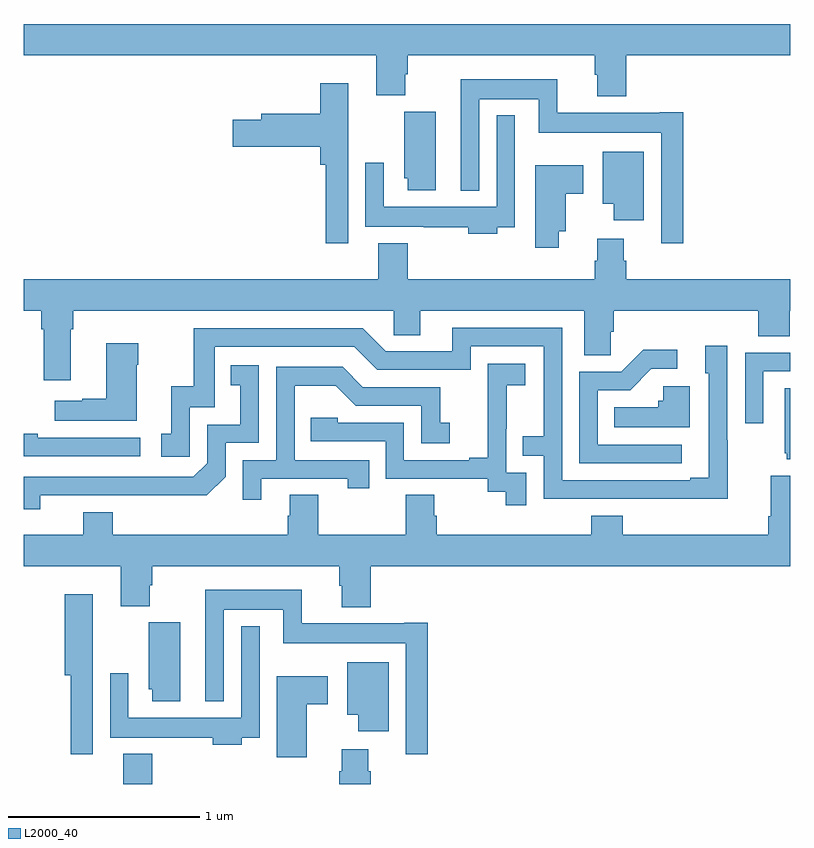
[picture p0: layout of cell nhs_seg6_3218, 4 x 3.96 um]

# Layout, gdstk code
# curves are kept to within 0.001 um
import gdstk
lib = gdstk.Library(unit=1e-6, precision=1e-09)
def R(c, l, rs):  # rectangles x0, y0, x1, y1
    for r in rs: c.add(gdstk.rectangle(r[:2], r[2:], *l))
def P(c, l, *ps):  # polygons
    for p in ps: c.add(gdstk.Polygon(p, *l))
L2000_40 = (2000, 40)

nhs_seg6_3218 = lib.new_cell('nhs_seg6_3218')
R(nhs_seg6_3218, L2000_40, [(299.519,979.5,299.672,979.657)])
P(nhs_seg6_3218, L2000_40, [(302.144,983.3),(303,983.3),(303,983.464),(299,983.464),(299,983.3),(300.839,983.3),(300.839,983.092),(300.991,983.092),(300.991,983.201),(301.004,983.201),(301.004,983.3),(301.979,983.3),(301.979,983.199),(301.991,983.199),(301.991,983.087),(302.144,983.087)],
  [(302.441,983.005),(302.318,983.005),(302.318,983.002),(301.784,983.002),(301.784,983.176),(301.28,983.176),(301.28,982.595),(301.377,982.595),(301.377,983.072),(301.686,983.072),(301.686,982.898),(302.325,982.898),(302.325,982.32),(302.441,982.32)],
  [(300.693,982.839),(300.694,982.839),(300.694,983.155),(300.548,983.155),(300.548,982.995),(300.239,982.995),(300.239,982.965),(300.09,982.965),(300.09,982.823),(300.548,982.823),(300.548,982.73),(300.577,982.73),(300.577,982.32),(300.693,982.32)],
  [(301.15,983.007),(300.986,983.007),(300.986,982.659),(301.004,982.659),(301.004,982.596),(301.15,982.596)],
  [(301.471,982.404),(301.563,982.404),(301.563,982.987),(301.467,982.987),(301.467,982.51),(300.879,982.51),(300.879,982.741),(300.783,982.741),(300.783,982.406),(301.087,982.406),(301.087,982.404),(301.319,982.404),(301.319,982.37),(301.471,982.37)],
  [(302.236,982.798),(302.021,982.798),(302.021,982.526),(302.078,982.526),(302.078,982.44),(302.236,982.44)],
  [(301.792,982.382),(301.828,982.382),(301.828,982.579),(301.918,982.579),(301.918,982.726),(301.67,982.726),(301.67,982.296),(301.792,982.296)],
  [(299.245,981.872),(299.258,981.872),(299.258,981.968),(300.93,981.968),(300.93,981.841),(301.069,981.841),(301.069,981.968),(301.925,981.968),(301.925,981.736),(302.064,981.736),(302.064,981.859),(302.078,981.859),(302.078,981.968),(302.831,981.968),(302.831,981.835),(302.996,981.835),(302.996,981.968),(303,981.968),(303,982.132),(302.144,982.132),(302.144,982.23),(302.131,982.23),(302.131,982.345),(301.991,982.345),(301.991,982.23),(301.979,982.23),(301.979,982.132),(301.004,982.132),(301.004,982.321),(300.851,982.321),(300.851,982.132),(299,982.132),(299,981.968),(299.093,981.968),(299.093,981.872),(299.105,981.872),(299.105,981.606),(299.245,981.606)],
  [(302.673,981.293),(302.67,981.293),(302.67,981.787),(302.555,981.787),(302.555,981.642),(302.574,981.642),(302.574,981.097),(302.477,981.097),(302.477,981.084),(301.809,981.084),(301.809,981.879),(301.235,981.879),(301.235,981.756),(300.888,981.756),(300.768,981.876),(299.889,981.876),(299.889,981.574),(299.771,981.574),(299.771,981.327),(299.718,981.327),(299.718,981.207),(299.868,981.207),(299.868,981.465),(299.997,981.465),(299.997,981.78),(300.726,981.78),(300.846,981.66),(301.332,981.66),(301.332,981.783),(301.713,981.783),(301.713,981.314),(301.603,981.314),(301.603,981.213),(301.713,981.213),(301.713,980.988),(302.673,980.987)],
  [(299.59,981.686),(299.598,981.686),(299.598,981.799),(299.432,981.799),(299.432,981.509),(299.306,981.509),(299.306,981.499),(299.163,981.499),(299.163,981.395),(299.59,981.395)],
  [(302.434,981.27),(301.995,981.27),(301.995,981.555),(302.164,981.555),(302.275,981.666),(302.41,981.666),(302.41,981.764),(302.231,981.764),(302.118,981.651),(301.899,981.651),(301.899,981.174),(302.434,981.174)],
  [(302.859,981.654),(303,981.654),(303,981.75),(302.763,981.75),(302.763,981.381),(302.859,981.381)],
  [(301.623,981.123),(301.518,981.123),(301.518,981.353),(301.52,981.353),(301.52,981.581),(301.618,981.581),(301.618,981.691),(301.42,981.691),(301.42,981.485),(301.421,981.485),(301.421,981.202),(301.325,981.202),(301.325,981.189),(300.984,981.189),(300.984,981.384),(300.639,981.384),(300.639,981.411),(300.499,981.411),(300.499,981.288),(300.888,981.288),(300.888,981.093),(301.422,981.093),(301.422,981.025),(301.515,981.025),(301.515,980.955),(301.623,980.955)],
  [(299.088,981.006),(299.956,981.005),(300.054,981.102),(300.054,981.279),(300.228,981.279),(300.228,981.685),(300.082,981.685),(300.082,981.579),(300.131,981.579),(300.131,981.375),(299.958,981.375),(299.958,981.174),(299.886,981.102),(299,981.102),(299,980.933),(299.088,980.933)],
  [(300.241,981.093),(300.692,981.093),(300.692,981.042),(300.803,981.042),(300.803,981.189),(300.414,981.189),(300.414,981.578),(300.628,981.578),(300.732,981.474),(301.074,981.474),(301.074,981.276),(301.222,981.276),(301.222,981.385),(301.173,981.385),(301.173,981.57),(300.769,981.57),(300.664,981.675),(300.318,981.675),(300.318,981.189),(300.144,981.189),(300.144,980.982),(300.241,980.982)],
  [(302.476,981.574),(302.337,981.574),(302.337,981.498),(302.311,981.498),(302.311,981.466),(302.08,981.466),(302.08,981.362),(302.476,981.362)],
  [(303,981.565),(302.969,981.565),(302.969,981.225),(302.981,981.225),(302.981,981.194),(303,981.194)],
  [(299.608,981.306),(299.075,981.306),(299.075,981.326),(299,981.326),(299,981.21),(299.608,981.21)],
  [(300.812,980.636),(303,980.636),(303,981.109),(302.897,981.109),(302.897,980.896),(302.885,980.896),(302.885,980.8),(302.126,980.8),(302.126,980.899),(301.961,980.899),(301.961,980.8),(301.154,980.8),(301.154,980.898),(301.141,980.898),(301.141,981.008),(300.994,981.008),(300.994,980.8),(300.537,980.8),(300.537,981.008),(300.389,981.008),(300.389,980.898),(300.377,980.898),(300.377,980.8),(299.465,980.8),(299.465,980.917),(299.312,980.917),(299.312,980.8),(299,980.8),(299,980.636),(299.507,980.636),(299.507,980.428),(299.659,980.428),(299.659,980.537),(299.672,980.537),(299.672,980.636),(300.647,980.636),(300.647,980.535),(300.659,980.535),(300.659,980.423),(300.812,980.423)],
  [(301.109,980.341),(300.986,980.341),(300.986,980.338),(300.452,980.338),(300.452,980.512),(299.948,980.512),(299.948,979.931),(300.045,979.931),(300.045,980.408),(300.354,980.408),(300.354,980.234),(300.993,980.234),(300.993,979.656),(301.109,979.656)],
  [(299.361,980.17),(299.362,980.17),(299.362,980.491),(299.216,980.491),(299.216,980.066),(299.245,980.066),(299.245,979.656),(299.361,979.656)],
  [(299.818,980.343),(299.654,980.343),(299.654,979.995),(299.672,979.995),(299.672,979.932),(299.818,979.932)],
  [(300.139,979.74),(300.231,979.74),(300.231,980.323),(300.135,980.323),(300.135,979.846),(299.547,979.846),(299.547,980.077),(299.451,980.077),(299.451,979.742),(299.755,979.742),(299.755,979.74),(299.987,979.74),(299.987,979.706),(300.139,979.706)],
  [(300.904,980.134),(300.689,980.134),(300.689,979.862),(300.746,979.862),(300.746,979.776),(300.904,979.776)],
  [(300.478,979.915),(300.586,979.915),(300.586,980.062),(300.32,980.062),(300.32,979.64),(300.478,979.64)],
  [(300.812,979.566),(300.799,979.566),(300.799,979.681),(300.659,979.681),(300.659,979.566),(300.647,979.566),(300.647,979.5),(300.812,979.5)])

lib.write_gds('nhs_seg6_3218.gds')
